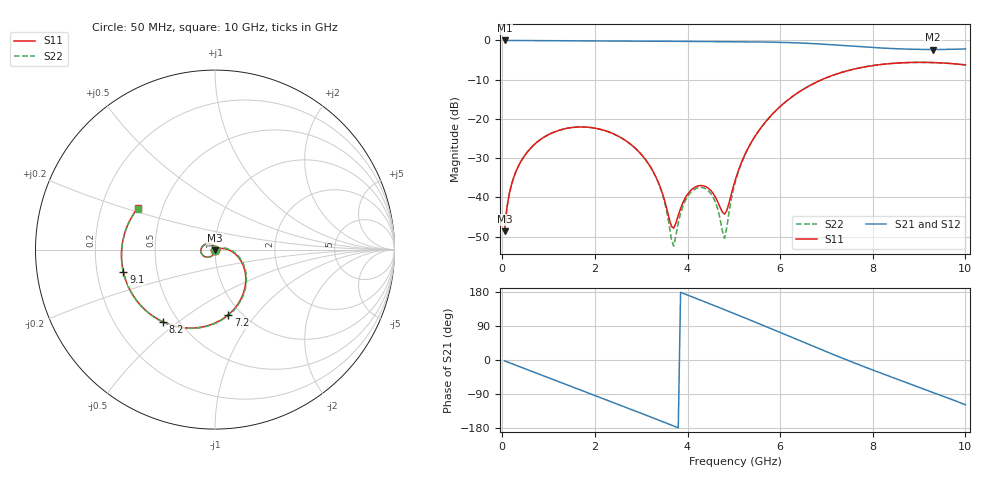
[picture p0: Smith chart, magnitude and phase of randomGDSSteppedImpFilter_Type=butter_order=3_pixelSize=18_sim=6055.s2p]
! freq	dB(S11)	phase(S11)	dB(S12)	phase(S12)
!  dB(S21)	phase(S21)	dB(S22)	phase(S22)
!S-par simulation data
#  GHz  S  DB  R 50
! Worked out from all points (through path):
!   200 points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, 50 MHz to 10 GHz, reference 50 ohm
!   highest |S21| = 0.00 dB at 50 MHz (marker M1); lowest = -2.3 dB at 9.3 GHz (marker M2)
!   group delay of S21, straight-line fit = 134 ps
!   lowest |S11| = -48.6 dB at 50 MHz (marker M3), VSWR 1.01, Z = 50 - j0.37 ohm
!   |S11| at or under -10 dB: start of sweep to 6.898 GHz
!   |S22| runs from -52.4 to -5.6 dB; largest |S21 - S12| = 0
!   S11 on the Smith chart (normalised r, x): 50 MHz: 1.00, -0.01; 7.2 GHz: 0.87, -0.73; 8.2 GHz: 0.41, -0.44; 9.1 GHz: 0.31, -0.11; 10 GHz: 0.36, +0.22
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0.05  -48.62 -91.4  -0.00 -2.4  -0.00 -2.4  -48.62 -91.4
0.1  -42.62 -94.2  -0.01 -4.7  -0.01 -4.7  -42.62 -94.2
0.2  -36.66 -99.0  -0.02 -9.5  -0.02 -9.5  -36.66 -99.0
0.5  -29.05 -113.8  -0.04 -23.5  -0.04 -23.5  -29.05 -113.8
1.05  -23.69 -140.3  -0.08 -49.2  -0.08 -49.2  -23.69 -140.2
1.75  -22.04 -173.5  -0.12 -81.9  -0.12 -81.9  -22.04 -173.4
2.75  -26.24 137.6  -0.16 -128.8  -0.16 -128.8  -26.24 138.5
3.4  -37.04 95.4  -0.20 -159.7  -0.20 -159.7  -37.18 100.9
3.7  -47.84 0.6  -0.22 -174.1  -0.22 -174.1  -52.40 -1.3
3.95  -40.13 -69.1  -0.24 173.9  -0.24 173.9  -40.87 -80.1
4.25  -36.99 -89.7  -0.26 159.5  -0.26 159.5  -37.46 -99.0
4.55  -38.93 -95.2  -0.29 144.9  -0.29 144.9  -39.90 -108.7
4.8  -44.22 -46.5  -0.30 132.7  -0.30 132.7  -50.38 -44.1
5.05  -34.82 9.3  -0.32 120.4  -0.32 120.4  -35.24 20.5
5.65  -21.23 -4.2  -0.40 90.5  -0.40 90.5  -21.25 -1.2
6.7  -11.12 -54.0  -0.80 37.0  -0.80 37.0  -11.12 -52.8
7.2  -8.62 -78.5  -1.16 11.9  -1.16 11.9  -8.62 -77.6
8.2  -6.10 -125.6  -1.93 -35.7  -1.93 -35.7  -6.09 -125.0
8.35  -5.92 -132.4  -2.03 -42.6  -2.03 -42.6  -5.92 -131.8
9.1  -5.58 -166.2  -2.29 -76.5  -2.29 -76.5  -5.59 -165.8
9.3  -5.63 -175.3  -2.31 -85.5  -2.31 -85.5  -5.63 -174.9
10  -6.22 151.8  -2.16 -118.0  -2.16 -118.0  -6.22 152.1
